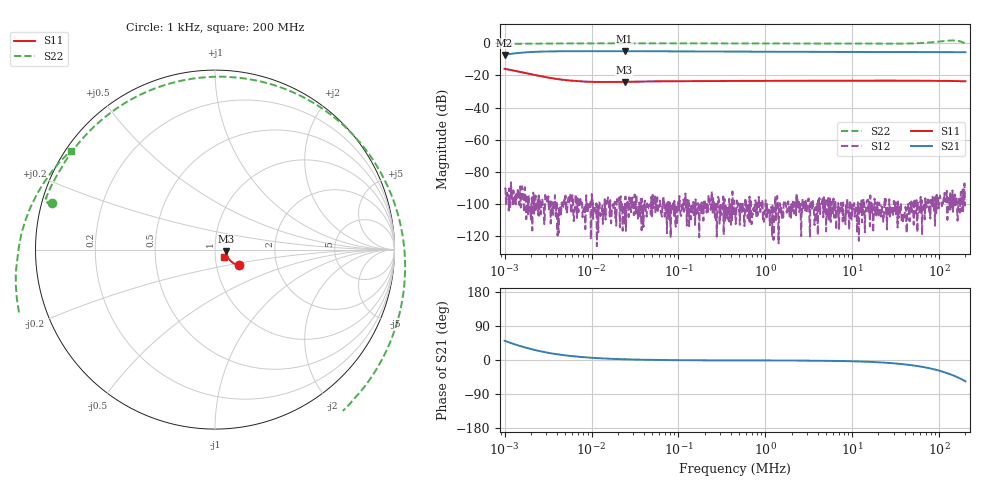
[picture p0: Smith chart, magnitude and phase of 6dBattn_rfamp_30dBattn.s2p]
! ListType=Log
# MHZ S RI R 50
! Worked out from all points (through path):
!   1000 points, 1 kHz to 200 MHz, reference 50 ohm
!   highest |S21| = -4.90 dB at 23.97 kHz (marker M1); lowest = -7.3 dB at 1 kHz (marker M2)
!   group delay of S21, straight-line fit = 922 ps
!   lowest |S11| = -24.3 dB at 23.97 kHz (marker M3), VSWR 1.13, Z = 56.5 - j0.906 ohm
!   |S11| at or under -10 dB: start of sweep to end of sweep
!   |S22| runs from -0.5 to 1.7 dB; largest |S21 - S12| = 0.57
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0.001  0.1337 -0.0864  0.2744 0.3348  -1.15e-05 -2.99e-05  -0.9089 0.26
0.0024398  0.0799 -0.0558  0.494 0.2226  3.3e-06 3.2e-06  -0.9303 0.2599
0.0076941  0.0622 -0.0184  0.5568 0.0768  -2.1e-06 8.4e-06  -0.9422 0.2759
0.0239689  0.0608 -0.00799  0.5682 0.0269  -3.4e-06 -2.8e-06  -0.9432 0.2849
0.0584804  0.065 -1.29e-05  0.5578 0.000647  1.1e-06 -7.5e-06  -0.9406 0.2882
0.4499541  0.0669 0.000702  0.5445 -0.00984  1.8e-06 7.1e-06  -0.9349 0.303
3.419952  0.0679 -0.000178  0.5354 -0.0156  -1.8e-06 -7.2e-06  -0.8867 0.4028
12.03851  0.0682 -0.00247  0.5301 -0.0361  -7.5e-06 -3e-07  -0.7122 0.6466
18.46267  0.0682 -0.00408  0.5276 -0.0518  1.7e-06 -4.3e-06  -0.5466 0.7874
26.31347  0.0682 -0.00597  0.5247 -0.0713  3.6e-06 -3.5e-06  -0.3118 0.9064
38.43037  0.0677 -0.00883  0.519 -0.1014  1.2e-06 -2.3e-06  0.0882 0.9611
50.9003  0.0672 -0.0117  0.5116 -0.1323  -1e-07 -2.3e-06  0.4925 0.8486
64.99008  0.0664 -0.0149  0.5011 -0.1667  6e-06 -3.9e-06  0.8567 0.5339
81.97236  0.0652 -0.0187  0.4854 -0.2072  5.3e-06 -7.1e-06  1.057 -0.0223
92.62555  0.0643 -0.0211  0.4738 -0.232  -3.4e-06 -4.1e-06  1.016 -0.4025
103.3922  0.0634 -0.0234  0.4607 -0.2563  -9.6e-06 -1.12e-05  0.8402 -0.7545
116.8291  0.062 -0.0262  0.4425 -0.2857  1.25e-05 -4.9e-06  0.4616 -1.075
128.8255  0.0607 -0.0285  0.4246 -0.3107  -1.25e-05 -1.01e-05  0.0311 -1.195
145.5678  0.0586 -0.032  0.3973 -0.344  5.8e-06 -1.22e-05  -0.5687 -1.06
164.4859  0.0559 -0.0353  0.3635 -0.3784  4.6e-06 -3.3e-06  -1.028 -0.5582
179.1732  0.0535 -0.0383  0.3333 -0.4058  -1.87e-05 -8.8e-06  -1.102 -0.0581
200  0.0506 -0.0415  0.2926 -0.4336  -1.29e-05 -6.6e-06  -0.8026 0.5506
